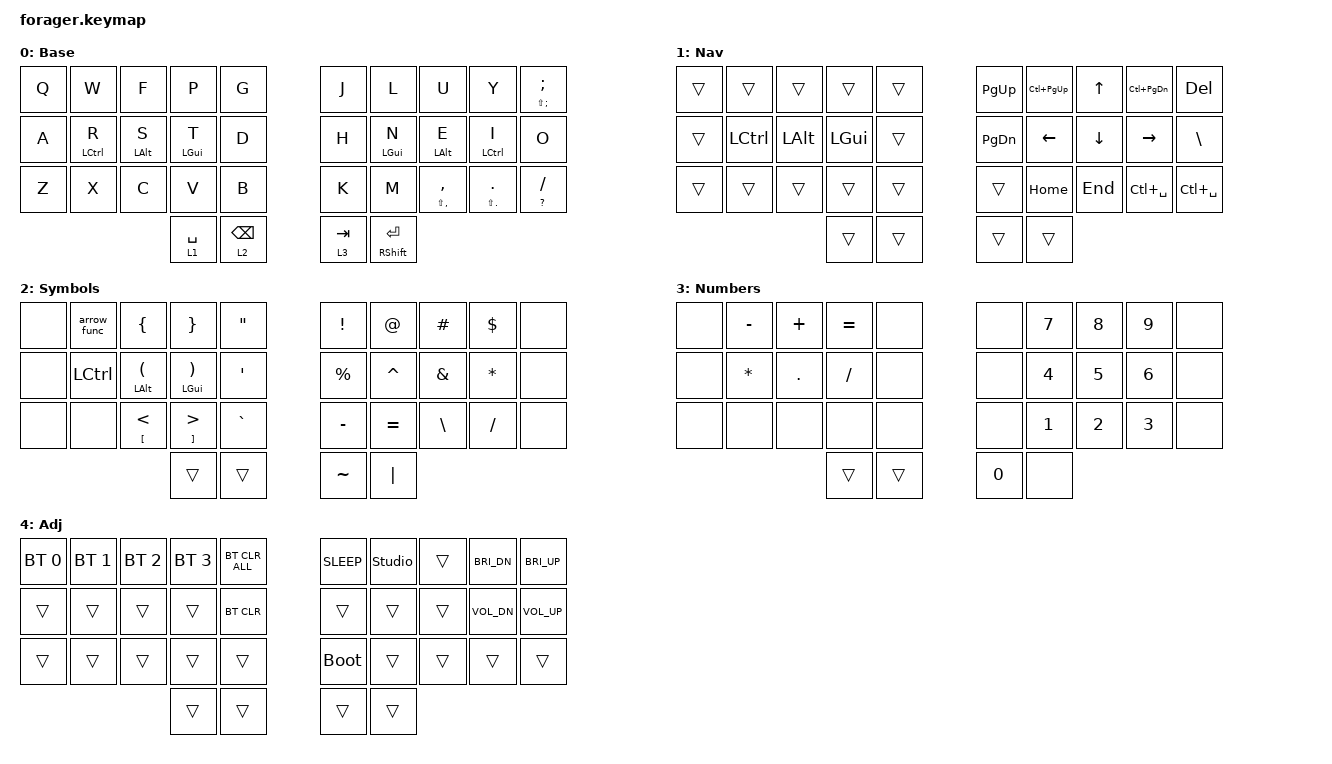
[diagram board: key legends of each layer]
#include <behaviors.dtsi>
#include <dt-bindings/zmk/bt.h>
#include <dt-bindings/zmk/keys.h>

/ {
    behaviors {
        as: auto_shift {
            compatible = "zmk,behavior-hold-tap";
            #binding-cells = <2>;
            tapping-term-ms = <250>;
            require-prior-idle-ms = <100>;
            flavor = "tap-preferred";
            bindings = <&kp>, <&kp>;
        };

        sabk: shift_to_alt_backspace {
            compatible = "zmk,behavior-mod-morph";
            #binding-cells = <0>;
            bindings = <&kp BSPC>, <&kp LA(BSPC)>;

            mods = <(MOD_LSFT|MOD_RSFT)>;
        };

        smart_shift: smart_shift {
            compatible = "zmk,behavior-mod-morph";
            #binding-cells = <0>;
            bindings = <&sk LSHFT>, <&caps_word>;

            mods = <(MOD_LSFT|MOD_RSFT)>;
        };

        lhm: left_homerow_mods {
            compatible = "zmk,behavior-hold-tap";
            #binding-cells = <2>;
            flavor = "balanced";
            tapping-term-ms = <280>;
            quick-tap-ms = <175>;
            require-prior-idle-ms = <150>;
            bindings = <&kp>, <&kp>;

            hold-trigger-key-positions = <5 6 7 8 9 15 16 17 18 19 25 26 27 28 29 30 31 32 33>;
        };

        rhm: right_homerow_mods {
            compatible = "zmk,behavior-hold-tap";
            #binding-cells = <2>;
            flavor = "balanced";
            tapping-term-ms = <280>;
            quick-tap-ms = <175>;
            require-prior-idle-ms = <150>;
            bindings = <&kp>, <&kp>;

            hold-trigger-key-positions = <0 1 2 3 4 10 11 12 13 14 20 21 22 23 24 30 31 32 33>;
        };
    };

    // If both layer 1 AND layer 2 is active, instead activate layer 3

    conditional_layers {
        compatible = "zmk,conditional-layers";

        tri_layer {
            if-layers = <1 2>;
            then-layer = <3>;
        };
    };

    combos {
        compatible = "zmk,combos";

        Escape {
            bindings = <&kp ESCAPE>;
            key-positions = <14 15>;
        };

        Enter {
            bindings = <&kp ENTER>;
            key-positions = <30 33>;
            layers = <0 1 2 4>;
        };

        Settings {
            bindings = <&none>;
            key-positions = <20 29>;
        };
    };

    macros {
        arrow_func: arrow_func {
            compatible = "zmk,behavior-macro";
            #binding-cells = <0>;
            bindings = <&kp EQUAL &kp GT>;
            label = "ARROW_FUNC";
        };
    };

    keymap {
        compatible = "zmk,keymap";

        Base {
            display-name = "Base";
            bindings = <
  &kp Q  &kp W         &kp F        &kp P        &kp G              &kp J      &kp L                  &kp U                &kp Y            &as LS(SEMI) SEMI
  &kp A  &lhm LCTRL R  &lhm LALT S  &lhm LGUI T  &kp D              &kp H      &rhm LGUI N            &rhm LALT E          &rhm LCTRL I     &kp O
  &kp Z  &kp X         &kp C        &kp V        &kp B              &kp K      &kp M                  &as LS(COMMA) COMMA  &as LS(DOT) DOT  &as QUESTION SLASH
                                    &lt 1 SPACE  &lt 2 BACKSPACE    &lt 3 TAB  &mt RIGHT_SHIFT ENTER
            >;
        };

        Nav {
            display-name = "Nav";
            bindings = <
  &trans  &trans     &trans    &trans    &trans    &kp PAGE_UP    &kp LC(PG_UP)  &kp UP    &kp LC(PG_DN)  &kp DELETE
  &trans  &kp LCTRL  &kp LALT  &kp LGUI  &trans    &kp PAGE_DOWN  &kp LEFT       &kp DOWN  &kp RIGHT      &kp BSLH
  &trans  &trans     &trans    &trans    &trans    &trans         &kp HOME       &kp END   &kp LC(SPACE)  &kp LC(SPACE)
                               &trans    &trans    &trans         &trans
            >;
        };

        Sym {
            display-name = "Symbols";
            bindings = <
  &none  &arrow_func       &kp LEFT_BRACE              &kp RIGHT_BRACE                 &kp DOUBLE_QUOTES    &kp EXCL     &kp AT     &kp POUND      &kp DOLLAR    &none
  &none  &kp LEFT_CONTROL  &mt LALT LEFT_PARENTHESIS   &mt LGUI RIGHT_PARENTHESIS      &kp SINGLE_QUOTE     &kp PERCENT  &kp CARET  &kp AMPERSAND  &kp ASTERISK  &none
  &none  &none             &as LEFT_BRACKET LESS_THAN  &as RIGHT_BRACKET GREATER_THAN  &kp GRAVE            &kp MINUS    &kp EQUAL  &kp BACKSLASH  &kp SLASH     &none
                                                       &trans                          &trans               &kp TILDE    &kp PIPE
            >;
        };

        Numbers {
            display-name = "Numbers";
            bindings = <
  &none  &kp MINUS     &kp PLUS  &kp EQUAL  &none     &none         &kp NUMBER_7  &kp NUMBER_8  &kp NUMBER_9  &none
  &none  &kp ASTERISK  &kp DOT   &kp SLASH  &none     &none         &kp NUMBER_4  &kp NUMBER_5  &kp NUMBER_6  &none
  &none  &none         &none     &none      &none     &none         &kp NUMBER_1  &kp NUMBER_2  &kp NUMBER_3  &none
                                 &trans     &trans    &kp NUMBER_0  &none
            >;
        };

        Settings {
            display-name = "Adj";
            bindings = <
  &bt BT_SEL 0  &bt BT_SEL 1  &bt BT_SEL 2  &bt BT_SEL 3  &bt BT_CLR_ALL    &kp C_SLEEP  &studio_unlock  &trans  &kp C_BRI_DN  &kp C_BRI_UP
  &trans        &trans        &trans        &trans        &bt BT_CLR        &trans       &trans          &trans  &kp C_VOL_DN  &kp C_VOL_UP
  &trans        &trans        &trans        &trans        &trans            &bootloader  &trans          &trans  &trans        &trans
                                            &trans        &trans            &trans       &trans
            >;
        };
    };
};

&lt {
    // require-prior-idle-ms = <100>;

    tapping-term-ms = <150>;
    quick-tap-ms = <200>;
};

&mt { quick-tap-ms = <200>; };

&sk {
    release-after-ms = <500>;
    quick-release;
};
